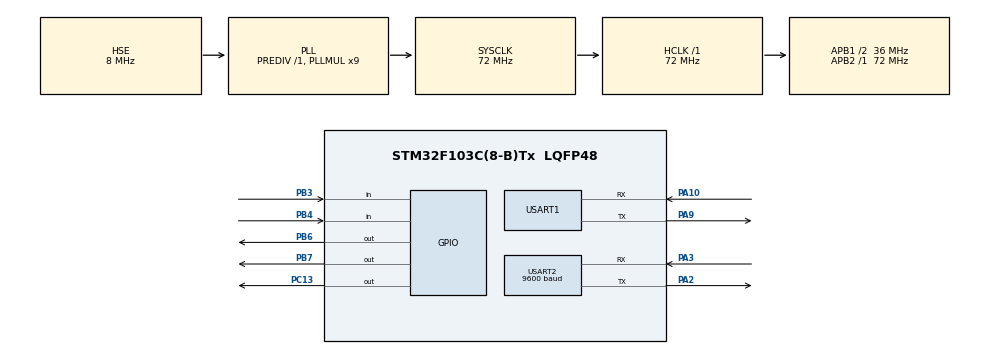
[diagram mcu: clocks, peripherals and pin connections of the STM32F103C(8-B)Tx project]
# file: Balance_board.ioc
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Mcu.Family=STM32F1
Mcu.Name=STM32F103C(8-B)Tx
Mcu.Package=LQFP48
NVIC.PriorityGroup=NVIC_PRIORITYGROUP_4
NVIC.TIM2_IRQn=true\:1\:0\:true\:false\:true\:true\:true\:true
NVIC.USART1_IRQn=true\:0\:0\:true\:false\:true\:true\:true\:true
PA10.Mode=Asynchronous
PA10.Signal=USART1_RX
PA13.Mode=Serial_Wire
PA13.Signal=SYS_JTMS-SWDIO
PA14.Mode=Serial_Wire
PA14.Signal=SYS_JTCK-SWCLK
PA2.Mode=Asynchronous
PA2.Signal=USART2_TX
PA3.Mode=Asynchronous
PA3.Signal=USART2_RX
PA9.Mode=Asynchronous
PA9.Signal=USART1_TX
PB3.GPIO_PuPd=GPIO_PULLUP
PB3.Signal=GPIO_Input
PB4.GPIO_PuPd=GPIO_PULLUP
PB4.Signal=GPIO_Input
PB6.GPIO_ModeDefaultOutputPP=GPIO_MODE_OUTPUT_OD
PB6.GPIO_PuPd=GPIO_PULLUP
PB6.GPIO_Speed=GPIO_SPEED_FREQ_HIGH
PB6.PinState=GPIO_PIN_SET
PB6.Signal=GPIO_Output
PB7.GPIO_ModeDefaultOutputPP=GPIO_MODE_OUTPUT_OD
PB7.GPIO_PuPd=GPIO_PULLUP
PB7.GPIO_Speed=GPIO_SPEED_FREQ_HIGH
PB7.PinState=GPIO_PIN_SET
PB7.Signal=GPIO_Output
PC13-TAMPER-RTC.Signal=GPIO_Output
PC14-OSC32_IN.Mode=LSE-External-Oscillator
PC14-OSC32_IN.Signal=RCC_OSC32_IN
PC15-OSC32_OUT.Mode=LSE-External-Oscillator
PC15-OSC32_OUT.Signal=RCC_OSC32_OUT
PD0-OSC_IN.Mode=HSE-External-Oscillator
PD0-OSC_IN.Signal=RCC_OSC_IN
PD1-OSC_OUT.Mode=HSE-External-Oscillator
PD1-OSC_OUT.Signal=RCC_OSC_OUT
ProjectManager.HeapSize=0x400
ProjectManager.StackSize=0x600
ProjectManager.TargetToolchain=MDK-ARM V5
RCC.AHBFreq_Value=72000000
RCC.APB1CLKDivider=RCC_HCLK_DIV2
RCC.APB1Freq_Value=36000000
RCC.APB1TimFreq_Value=72000000
RCC.APB2Freq_Value=72000000
RCC.APB2TimFreq_Value=72000000
RCC.HCLKFreq_Value=72000000
RCC.PLLMUL=RCC_PLL_MUL9
RCC.PLLSourceVirtual=RCC_PLLSOURCE_HSE
RCC.SYSCLKFreq_VALUE=72000000
RCC.SYSCLKSource=RCC_SYSCLKSOURCE_PLLCLK
RCC.USBFreq_Value=72000000
TIM2.Period=999
TIM2.Prescaler=71
USART1.VirtualMode=VM_ASYNC
USART2.BaudRate=9600
USART2.VirtualMode=VM_ASYNC
VP_TIM2_VS_ClockSourceINT.Mode=Internal
board=custom

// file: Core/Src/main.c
/* USER CODE BEGIN Header */
/**
  ******************************************************************************
  * @file           : main.c
  * @brief          : Main program body
  ******************************************************************************
  * @attention
  *
  * Copyright (c) 2022 STMicroelectronics.
  * All rights reserved.
  *
  * This software is licensed under terms that can be found in the LICENSE file
  * in the root directory of this software component.
  * If no LICENSE file comes with this software, it is provided AS-IS.
  *
  ******************************************************************************
  */
/* USER CODE END Header */
#include "main.h"
#include "tim.h"
#include "usart.h"
#include "gpio.h"

/* USER CODE BEGIN Includes */
#include "stdio.h"
#include "mpu6050.h"
#include "func.h"
#include "string.h"
/* USER CODE END Includes */

/* USER CODE BEGIN PTD */
extern float pitch, roll, yaw;
/* USER CODE END PTD */

/* USER CODE BEGIN PV */
uint8_t game = 0;
uint8_t mode = 0;
uint8_t mod_change = 1;
/* USER CODE END PV */

void SystemClock_Config(void);

int main(void)
{

  /* MCU Configuration--------------------------------------------------------*/

  /* Reset of all peripherals, Initializes the Flash interface and the Systick. */
  HAL_Init();

  /* Configure the system clock */
  SystemClock_Config();

  /* Initialize all configured peripherals */
  MX_GPIO_Init();
  MX_TIM2_Init();
  MX_USART1_UART_Init();
  MX_USART2_UART_Init();
  /* USER CODE BEGIN 2 */

	HAL_Delay(2000);
	Voice_mode(7);//开始初始化
	HAL_Delay(4000);

	MPU_Init();

	while(mpu_dmp_init())	// 设备原因，初始化失败
	{
		//DMP_Init();
		Voice_mode(10);//提示重启设备
		HAL_Delay(5000);
		printf("ERROR\r\n");
	}
	printf("OK!");
	HAL_UART_Receive_IT(&huart1,(uint8_t*)&usart1_rec,1);

	for(int i=0;i<200;i++)		//等待数据稳定，否则后边判断水平位置会出错
	{
		mpu_dmp_get_data(&pitch,&roll,&yaw);
		HAL_Delay(10);
	}

	HAL_TIM_Base_Start_IT(&htim2);

	Voice_mode(8);//初始化成功
	HAL_UART_Receive_IT(&huart1,(uint8_t*)&usart1_rec,1);
	HAL_Delay(3000);
	//printf("ok\r\n");

	if(mod_change == 1)
		{
			mode = 1;//语音模式
			mod_change = 0;
			Voice_mode(11);
			HAL_Delay(2000);

		}

  /* USER CODE END 2 */

  /* Infinite loop */
  /* USER CODE BEGIN WHILE */

	game = 0;
	static char GAME_DATE = 0;
  while (1)
  {
    /* USER CODE END WHILE */

    /* USER CODE BEGIN 3 */
		if(mod_change == 1)
		{
			mod_change = 0;
			if(mode == 2)
			{
				mode = 1;//语音模式
				Voice_mode(11);

				HAL_Delay(2000);
			}
		}

		else if(mod_change == 2)
		{
			mod_change = 0;
			if(mode == 1)
			{
				mode = 2;//游戏模式
				Voice_mode(12);
				HAL_Delay(2000);
			}
		}

		if(mode == 1)//语音模式
		{
			YUYIN_func();
		}
		else if(mode == 2)//游戏模式
		{
			if(game == 1)
			{
				if(pitch > 10)	GAME_DATE = 'L';
				else if(pitch < -10) GAME_DATE = 'R';
				else GAME_DATE = 'P';
				printf("P%c\r\n",GAME_DATE);
				HAL_Delay(50);
			}
		}
  }

  /* USER CODE END 3 */
}

void SystemClock_Config(void)
{
  RCC_OscInitTypeDef RCC_OscInitStruct = {0};
  RCC_ClkInitTypeDef RCC_ClkInitStruct = {0};

  /** Initializes the RCC Oscillators according to the specified parameters
  * in the RCC_OscInitTypeDef structure.
  */
  RCC_OscInitStruct.OscillatorType = RCC_OSCILLATORTYPE_HSE;
  RCC_OscInitStruct.HSEState = RCC_HSE_ON;
  RCC_OscInitStruct.HSEPredivValue = RCC_HSE_PREDIV_DIV1;
  RCC_OscInitStruct.HSIState = RCC_HSI_ON;
  RCC_OscInitStruct.PLL.PLLState = RCC_PLL_ON;
  RCC_OscInitStruct.PLL.PLLSource = RCC_PLLSOURCE_HSE;
  RCC_OscInitStruct.PLL.PLLMUL = RCC_PLL_MUL9;
  if (HAL_RCC_OscConfig(&RCC_OscInitStruct) != HAL_OK)
  {
    Error_Handler();
  }

  /** Initializes the CPU, AHB and APB buses clocks
  */
  RCC_ClkInitStruct.ClockType = RCC_CLOCKTYPE_HCLK|RCC_CLOCKTYPE_SYSCLK
                              |RCC_CLOCKTYPE_PCLK1|RCC_CLOCKTYPE_PCLK2;
  RCC_ClkInitStruct.SYSCLKSource = RCC_SYSCLKSOURCE_PLLCLK;
  RCC_ClkInitStruct.AHBCLKDivider = RCC_SYSCLK_DIV1;
  RCC_ClkInitStruct.APB1CLKDivider = RCC_HCLK_DIV2;
  RCC_ClkInitStruct.APB2CLKDivider = RCC_HCLK_DIV1;

  if (HAL_RCC_ClockConfig(&RCC_ClkInitStruct, FLASH_LATENCY_2) != HAL_OK)
  {
    Error_Handler();
  }
}

void Error_Handler(void)
{
  __disable_irq();
  while (1)
  {
  }
}
